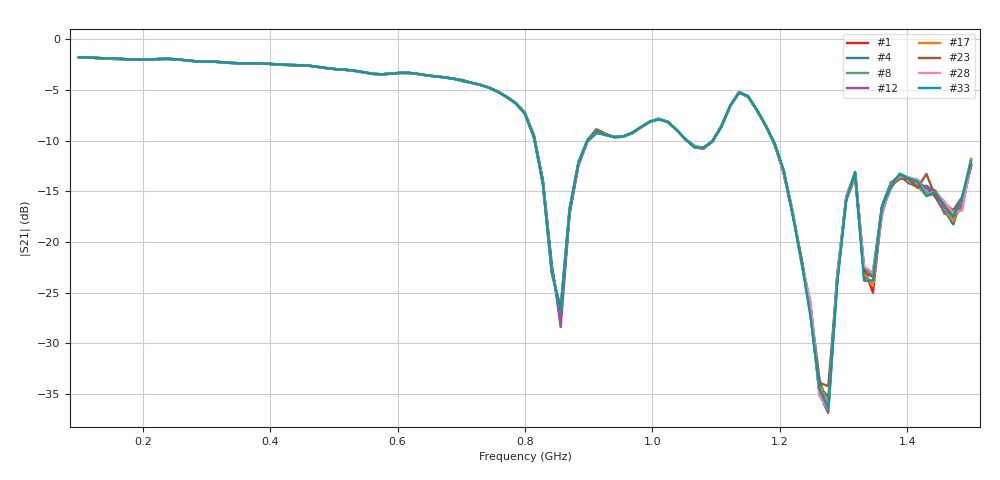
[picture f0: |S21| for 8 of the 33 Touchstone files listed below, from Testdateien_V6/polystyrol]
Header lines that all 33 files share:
! NanoVNA-App
! Start: 100MHz Stop: 1,5GHz Points: 101
! S-Parameter data: F S11 S21 S12 S22
# Hz S RI R 50
!  Frequency  S11_Real  S11_Imag  S21_Real  S21_Imag  S12_Real  S12_Imag  S22_Real  S22_Imag
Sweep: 100 MHz to 1.5 GHz
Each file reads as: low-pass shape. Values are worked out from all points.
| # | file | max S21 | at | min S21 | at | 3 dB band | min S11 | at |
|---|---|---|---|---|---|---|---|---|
| 1 | polystyrol (23).s2p | -1.79 dB | 100 MHz | -35.9 dB | 1.276 GHz | 100 MHz-730 MHz | -39.2 dB | 128 MHz |
| 2 | polystyrol (24).s2p | -1.79 dB | 100 MHz | -35.7 dB | 1.276 GHz | 100 MHz-730 MHz | -39.3 dB | 128 MHz |
| 3 | polystyrol (25).s2p | -1.79 dB | 100 MHz | -37.8 dB | 1.276 GHz | 100 MHz-730 MHz | -39.2 dB | 128 MHz |
| 4 | polystyrol (26).s2p | -1.79 dB | 100 MHz | -35.3 dB | 1.276 GHz | 100 MHz-744 MHz | -39.2 dB | 128 MHz |
| 5 | polystyrol (27).s2p | -1.79 dB | 100 MHz | -37.1 dB | 1.276 GHz | 100 MHz-730 MHz | -39.2 dB | 128 MHz |
| 6 | polystyrol (28).s2p | -1.79 dB | 100 MHz | -36.9 dB | 1.276 GHz | 100 MHz-730 MHz | -39.2 dB | 128 MHz |
| 7 | polystyrol (29).s2p | -1.79 dB | 100 MHz | -36.8 dB | 1.276 GHz | 100 MHz-730 MHz | -39.2 dB | 128 MHz |
| 8 | polystyrol (31).s2p | -1.79 dB | 100 MHz | -36.4 dB | 1.276 GHz | 100 MHz-730 MHz | -39.2 dB | 128 MHz |
| 9 | polystyrol (32).s2p | -1.79 dB | 100 MHz | -35.1 dB | 1.276 GHz | 100 MHz-730 MHz | -39.2 dB | 128 MHz |
| 10 | polystyrol (33).s2p | -1.79 dB | 100 MHz | -35.4 dB | 1.262 GHz | 100 MHz-744 MHz | -39.2 dB | 128 MHz |
| 11 | polystyrol (34).s2p | -1.79 dB | 100 MHz | -37.2 dB | 1.276 GHz | 100 MHz-730 MHz | -39.3 dB | 128 MHz |
| 12 | polystyrol (35).s2p | -1.79 dB | 100 MHz | -36.9 dB | 1.276 GHz | 100 MHz-744 MHz | -39.2 dB | 128 MHz |
| 13 | polystyrol (37).s2p | -1.79 dB | 100 MHz | -38.6 dB | 1.276 GHz | 100 MHz-730 MHz | -39.2 dB | 128 MHz |
| 14 | polystyrol (38).s2p | -1.79 dB | 100 MHz | -42.7 dB | 1.276 GHz | 100 MHz-730 MHz | -39.3 dB | 128 MHz |
| 15 | polystyrol (39).s2p | -1.79 dB | 100 MHz | -35.2 dB | 1.262 GHz | 100 MHz-730 MHz | -39.3 dB | 128 MHz |
| 16 | polystyrol (40).s2p | -1.79 dB | 100 MHz | -36.8 dB | 1.276 GHz | 100 MHz-730 MHz | -39.2 dB | 128 MHz |
| 17 | polystyrol (41).s2p | -1.79 dB | 100 MHz | -36.2 dB | 1.276 GHz | 100 MHz-730 MHz | -39.3 dB | 128 MHz |
| 18 | polystyrol (42).s2p | -1.79 dB | 100 MHz | -38.4 dB | 1.276 GHz | 100 MHz-730 MHz | -39.2 dB | 128 MHz |
| 19 | polystyrol (43).s2p | -1.79 dB | 100 MHz | -37.6 dB | 1.276 GHz | 100 MHz-730 MHz | -39.3 dB | 128 MHz |
| 20 | polystyrol (44).s2p | -1.79 dB | 100 MHz | -35.5 dB | 1.262 GHz | 100 MHz-730 MHz | -39.3 dB | 128 MHz |
| 21 | polystyrol (45).s2p | -1.79 dB | 100 MHz | -37.1 dB | 1.276 GHz | 100 MHz-730 MHz | -39.2 dB | 128 MHz |
| 22 | polystyrol (46).s2p | -1.79 dB | 100 MHz | -35.9 dB | 1.276 GHz | 100 MHz-730 MHz | -39.2 dB | 128 MHz |
| 23 | polystyrol (48).s2p | -1.79 dB | 100 MHz | -34.2 dB | 1.276 GHz | 100 MHz-730 MHz | -39.3 dB | 128 MHz |
| 24 | polystyrol (49).s2p | -1.79 dB | 100 MHz | -36.7 dB | 1.276 GHz | 100 MHz-730 MHz | -39.3 dB | 128 MHz |
| 25 | polystyrol (50).s2p | -1.79 dB | 100 MHz | -36.8 dB | 1.276 GHz | 100 MHz-730 MHz | -39.2 dB | 128 MHz |
| 26 | polystyrol (52).s2p | -1.79 dB | 100 MHz | -36.6 dB | 1.262 GHz | 100 MHz-730 MHz | -39.2 dB | 128 MHz |
| 27 | polystyrol (53).s2p | -1.79 dB | 100 MHz | -37.9 dB | 1.276 GHz | 100 MHz-730 MHz | -39.3 dB | 128 MHz |
| 28 | polystyrol (54).s2p | -1.79 dB | 100 MHz | -36.5 dB | 1.276 GHz | 100 MHz-730 MHz | -39.2 dB | 128 MHz |
| 29 | polystyrol (55).s2p | -1.79 dB | 100 MHz | -39.1 dB | 1.276 GHz | 100 MHz-730 MHz | -39.2 dB | 128 MHz |
| 30 | polystyrol (56).s2p | -1.79 dB | 100 MHz | -39.2 dB | 1.276 GHz | 100 MHz-730 MHz | -39.3 dB | 128 MHz |
| 31 | polystyrol (58).s2p | -1.79 dB | 100 MHz | -37.9 dB | 1.276 GHz | 100 MHz-730 MHz | -39.3 dB | 128 MHz |
| 32 | polystyrol (59).s2p | -1.79 dB | 100 MHz | -36.3 dB | 1.276 GHz | 100 MHz-730 MHz | -39.2 dB | 128 MHz |
| 33 | polystyrol (61).s2p | -1.79 dB | 100 MHz | -36.4 dB | 1.276 GHz | 100 MHz-730 MHz | -39.3 dB | 128 MHz |
